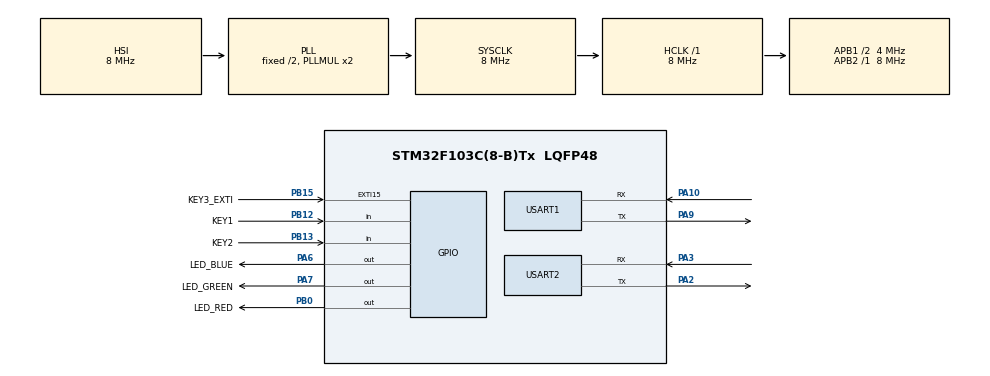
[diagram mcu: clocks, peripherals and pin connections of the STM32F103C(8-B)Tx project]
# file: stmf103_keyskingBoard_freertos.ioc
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FREERTOS.Tasks01=defaultTask,0,128,StartDefaultTask,Default,NULL,Dynamic,NULL,NULL
FREERTOS.configTOTAL_HEAP_SIZE=10*1024
Mcu.Family=STM32F1
Mcu.Name=STM32F103C(8-B)Tx
Mcu.Package=LQFP48
NVIC.EXTI15_10_IRQn=true\:5\:0\:false\:false\:true\:true\:true\:true\:true
NVIC.PriorityGroup=NVIC_PRIORITYGROUP_4
NVIC.USART2_IRQn=true\:5\:0\:false\:false\:true\:true\:true\:true\:true
PA0-WKUP.Mode=SYS_WakeUp0
PA0-WKUP.Signal=SYS_WKUP
PA10.Mode=Asynchronous
PA10.Signal=USART1_RX
PA13.Mode=Serial_Wire
PA13.Signal=SYS_JTMS-SWDIO
PA14.Mode=Serial_Wire
PA14.Signal=SYS_JTCK-SWCLK
PA2.Mode=Asynchronous
PA2.Signal=USART2_TX
PA3.Mode=Asynchronous
PA3.Signal=USART2_RX
PA6.GPIO_Label=LED_BLUE
PA6.Signal=GPIO_Output
PA7.GPIO_Label=LED_GREEN
PA7.Signal=GPIO_Output
PA9.Mode=Asynchronous
PA9.Signal=USART1_TX
PB0.GPIO_Label=LED_RED
PB0.Signal=GPIO_Output
PB12.GPIO_Label=KEY1
PB12.Signal=GPIO_Input
PB13.GPIO_Label=KEY2
PB13.GPIO_PuPd=GPIO_PULLUP
PB13.Signal=GPIO_Input
PB15.GPIO_Label=KEY3_EXTI
PB15.GPIO_PuPd=GPIO_PULLUP
PB15.Signal=GPXTI15
ProjectManager.HeapSize=0x200
ProjectManager.StackSize=0x400
ProjectManager.TargetToolchain=MDK-ARM V5.32
RCC.AHBFreq_Value=8000000
RCC.APB1CLKDivider=RCC_HCLK_DIV2
RCC.APB1Freq_Value=4000000
RCC.APB1TimFreq_Value=8000000
RCC.APB2Freq_Value=8000000
RCC.APB2TimFreq_Value=8000000
RCC.HCLKFreq_Value=8000000
RCC.SYSCLKFreq_VALUE=8000000
RCC.SYSCLKSource=RCC_SYSCLKSOURCE_PLLCLK
RCC.USBFreq_Value=8000000
USART1.VirtualMode=VM_ASYNC
USART2.VirtualMode=VM_ASYNC
VP_FREERTOS_VS_CMSIS_V1.Mode=CMSIS_V1
VP_TIM1_VS_ClockSourceINT.Mode=Internal
VP_TIM1_VS_ClockSourceITR.Mode=TriggerSource_ITR0
VP_TIM1_VS_ControllerModeReset.Mode=Reset Mode
board=custom

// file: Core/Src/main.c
/* USER CODE BEGIN Header */
/**
  ******************************************************************************
  * @file           : main.c
  * @brief          : Main program body
  ******************************************************************************
  * @attention
  *
  * Copyright (c) 2025 STMicroelectronics.
  * All rights reserved.
  *
  * This software is licensed under terms that can be found in the LICENSE file
  * in the root directory of this software component.
  * If no LICENSE file comes with this software, it is provided AS-IS.
  *
  ******************************************************************************
  */
/* USER CODE END Header */
#include "main.h"
#include "cmsis_os.h"
#include "tim.h"
#include "usart.h"
#include "gpio.h"

/* USER CODE BEGIN Includes */
#include "bsp_freertos.h"
#include "stdio.h"
/* USER CODE END Includes */

void SystemClock_Config(void);
void MX_FREERTOS_Init(void);

int main(void)
{

  /* MCU Configuration--------------------------------------------------------*/

  /* Reset of all peripherals, Initializes the Flash interface and the Systick. */
  HAL_Init();

  /* Configure the system clock */
  SystemClock_Config();

  /* Initialize all configured peripherals */
  MX_GPIO_Init();
  MX_USART1_UART_Init();
  MX_USART2_UART_Init();
  MX_TIM1_Init();

  /* Call init function for freertos objects (in cmsis_os2.c) */
  MX_FREERTOS_Init();

  /* Start scheduler */
  osKernelStart();

  /* We should never get here as control is now taken by the scheduler */

  /* Infinite loop */
  /* USER CODE BEGIN WHILE */
  while (1)
  {
		  HAL_GPIO_WritePin(LED_RED_GPIO_Port, LED_RED_Pin, GPIO_PIN_SET);
    osDelay(500);
		  HAL_GPIO_WritePin(LED_RED_GPIO_Port, LED_RED_Pin, GPIO_PIN_RESET);
		osDelay(500);
    /* USER CODE END WHILE */

  }
}

void SystemClock_Config(void)
{
  RCC_OscInitTypeDef RCC_OscInitStruct = {0};
  RCC_ClkInitTypeDef RCC_ClkInitStruct = {0};

  /** Initializes the RCC Oscillators according to the specified parameters
  * in the RCC_OscInitTypeDef structure.
  */
  RCC_OscInitStruct.OscillatorType = RCC_OSCILLATORTYPE_HSI;
  RCC_OscInitStruct.HSIState = RCC_HSI_ON;
  RCC_OscInitStruct.HSICalibrationValue = RCC_HSICALIBRATION_DEFAULT;
  RCC_OscInitStruct.PLL.PLLState = RCC_PLL_ON;
  RCC_OscInitStruct.PLL.PLLSource = RCC_PLLSOURCE_HSI_DIV2;
  RCC_OscInitStruct.PLL.PLLMUL = RCC_PLL_MUL2;
  if (HAL_RCC_OscConfig(&RCC_OscInitStruct) != HAL_OK)
  {
    Error_Handler();
  }

  /** Initializes the CPU, AHB and APB buses clocks
  */
  RCC_ClkInitStruct.ClockType = RCC_CLOCKTYPE_HCLK|RCC_CLOCKTYPE_SYSCLK
                              |RCC_CLOCKTYPE_PCLK1|RCC_CLOCKTYPE_PCLK2;
  RCC_ClkInitStruct.SYSCLKSource = RCC_SYSCLKSOURCE_PLLCLK;
  RCC_ClkInitStruct.AHBCLKDivider = RCC_SYSCLK_DIV1;
  RCC_ClkInitStruct.APB1CLKDivider = RCC_HCLK_DIV2;
  RCC_ClkInitStruct.APB2CLKDivider = RCC_HCLK_DIV1;

  if (HAL_RCC_ClockConfig(&RCC_ClkInitStruct, FLASH_LATENCY_0) != HAL_OK)
  {
    Error_Handler();
  }
}

/* USER CODE BEGIN 4 */
//串口 printf重定向
#if 1
#ifdef __GNUC__
/* With GCC/RAISONANCE, small printf (option LD Linker->Libraries->
   set to 'Yes') calls __io_putchar() */
#define PUTCHAR_PROTOTYPE int __io_putchar(int ch)
#else
#define PUTCHAR_PROTOTYPE int fputc(int ch, FILE *f)
#endif /* __GNUC__ */

/**
 * @brief  Retargets the C library printf function to the USART
 * @param  None
 * @retval None
 */
PUTCHAR_PROTOTYPE
{
  /* Place your implementation of fputc here */
  /* e.g. write a character to the EVAL_COM1 and Loop until the end of transmission */
  HAL_UART_Transmit(&huart2, (uint8_t *)&ch,1, 0xFFFF);

  return ch;
}
#endif

/* USER CODE END 4 */

void Error_Handler(void)
{
  __disable_irq();
  while (1)
  {
  }
}

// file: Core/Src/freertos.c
/* USER CODE BEGIN Header */
/**
  ******************************************************************************
  * File Name          : freertos.c
  * Description        : Code for freertos applications
  ******************************************************************************
  * @attention
  *
  * Copyright (c) 2025 STMicroelectronics.
  * All rights reserved.
  *
  * This software is licensed under terms that can be found in the LICENSE file
  * in the root directory of this software component.
  * If no LICENSE file comes with this software, it is provided AS-IS.
  *
  ******************************************************************************
  */
/* USER CODE END Header */

#include "FreeRTOS.h"
#include "task.h"
#include "main.h"
#include "cmsis_os.h"

osThreadId defaultTaskHandle;

void StartDefaultTask(void const * argument);

void MX_FREERTOS_Init(void); /* (MISRA C 2004 rule 8.1) */

/* GetIdleTaskMemory prototype (linked to static allocation support) */
void vApplicationGetIdleTaskMemory( StaticTask_t **ppxIdleTaskTCBBuffer, StackType_t **ppxIdleTaskStackBuffer, uint32_t *pulIdleTaskStackSize );

/* USER CODE BEGIN GET_IDLE_TASK_MEMORY */
static StaticTask_t xIdleTaskTCBBuffer;
static StackType_t xIdleStack[configMINIMAL_STACK_SIZE];

void vApplicationGetIdleTaskMemory( StaticTask_t **ppxIdleTaskTCBBuffer, StackType_t **ppxIdleTaskStackBuffer, uint32_t *pulIdleTaskStackSize )
{
  *ppxIdleTaskTCBBuffer = &xIdleTaskTCBBuffer;
  *ppxIdleTaskStackBuffer = &xIdleStack[0];
  *pulIdleTaskStackSize = configMINIMAL_STACK_SIZE;
  /* place for user code */
}
/* USER CODE END GET_IDLE_TASK_MEMORY */

void MX_FREERTOS_Init(void) {

  /* Create the thread(s) */
  /* definition and creation of defaultTask */
  osThreadDef(defaultTask, StartDefaultTask, osPriorityNormal, 0, 128);
  defaultTaskHandle = osThreadCreate(osThread(defaultTask), NULL);

  /* USER CODE BEGIN RTOS_THREADS */
	Task_Create();
  /* add threads, ... */
  /* USER CODE END RTOS_THREADS */

}

void StartDefaultTask(void const * argument)
{
  /* USER CODE BEGIN StartDefaultTask */
  /* Infinite loop */
  for(;;)
  {

		osDelay(500);
  }
  /* USER CODE END StartDefaultTask */
}
